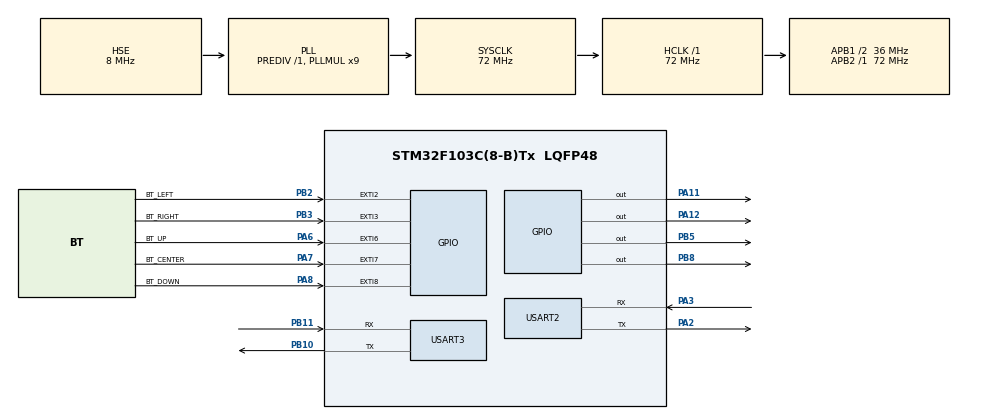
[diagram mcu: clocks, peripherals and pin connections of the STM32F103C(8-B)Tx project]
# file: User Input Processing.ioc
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Mcu.Family=STM32F1
Mcu.Name=STM32F103C(8-B)Tx
Mcu.Package=LQFP48
NVIC.EXTI2_IRQn=true\:4\:0\:true\:false\:true\:true\:true
NVIC.EXTI3_IRQn=true\:2\:0\:true\:false\:true\:true\:true
NVIC.EXTI9_5_IRQn=true\:3\:0\:true\:false\:true\:true\:true
NVIC.PriorityGroup=NVIC_PRIORITYGROUP_4
NVIC.USART2_IRQn=true\:1\:0\:true\:false\:true\:true\:true
NVIC.USART3_IRQn=true\:0\:0\:false\:false\:true\:true\:true
PA11.Signal=GPIO_Output
PA12.Signal=GPIO_Output
PA13.Mode=Serial_Wire
PA13.Signal=SYS_JTMS-SWDIO
PA14.Mode=Serial_Wire
PA14.Signal=SYS_JTCK-SWCLK
PA2.Mode=Asynchronous
PA2.Signal=USART2_TX
PA3.Mode=Asynchronous
PA3.Signal=USART2_RX
PA6.GPIO_Label=BT_UP
PA6.GPIO_ModeDefaultEXTI=GPIO_MODE_IT_FALLING
PA6.GPIO_PuPd=GPIO_PULLUP
PA6.Signal=GPXTI6
PA7.GPIO_Label=BT_CENTER
PA7.GPIO_ModeDefaultEXTI=GPIO_MODE_IT_FALLING
PA7.GPIO_PuPd=GPIO_PULLUP
PA7.Signal=GPXTI7
PA8.GPIO_Label=BT_DOWN
PA8.GPIO_ModeDefaultEXTI=GPIO_MODE_IT_FALLING
PA8.GPIO_PuPd=GPIO_PULLUP
PA8.Signal=GPXTI8
PB10.Mode=Asynchronous
PB10.Signal=USART3_TX
PB11.Mode=Asynchronous
PB11.Signal=USART3_RX
PB2.GPIO_Label=BT_LEFT
PB2.GPIO_ModeDefaultEXTI=GPIO_MODE_IT_FALLING
PB2.GPIO_PuPd=GPIO_PULLUP
PB2.Signal=GPXTI2
PB3.GPIO_Label=BT_RIGHT
PB3.GPIO_ModeDefaultEXTI=GPIO_MODE_IT_FALLING
PB3.GPIO_PuPd=GPIO_PULLUP
PB3.Signal=GPXTI3
PB5.Signal=GPIO_Output
PB8.Signal=GPIO_Output
PD0-OSC_IN.Mode=HSE-External-Oscillator
PD0-OSC_IN.Signal=RCC_OSC_IN
PD1-OSC_OUT.Mode=HSE-External-Oscillator
PD1-OSC_OUT.Signal=RCC_OSC_OUT
ProjectManager.HeapSize=0x200
ProjectManager.StackSize=0x400
ProjectManager.TargetToolchain=STM32CubeIDE
RCC.AHBFreq_Value=72000000
RCC.APB1CLKDivider=RCC_HCLK_DIV2
RCC.APB1Freq_Value=36000000
RCC.APB1TimFreq_Value=72000000
RCC.APB2Freq_Value=72000000
RCC.APB2TimFreq_Value=72000000
RCC.HCLKFreq_Value=72000000
RCC.PLLMUL=RCC_PLL_MUL9
RCC.PLLSourceVirtual=RCC_PLLSOURCE_HSE
RCC.SYSCLKFreq_VALUE=72000000
RCC.SYSCLKSource=RCC_SYSCLKSOURCE_PLLCLK
RCC.USBFreq_Value=72000000
USART2.VirtualMode=VM_ASYNC
USART3.VirtualMode=VM_ASYNC
board=custom

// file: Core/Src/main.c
/* USER CODE BEGIN Header */
/**
  ******************************************************************************
  * @file           : main.c
  * @brief          : Main program body
  ******************************************************************************
  * @attention
  *
  * <h2><center>&copy; Copyright (c) 2020 STMicroelectronics.
  * All rights reserved.</center></h2>
  *
  * This software component is licensed by ST under Ultimate Liberty license
  * SLA0044, the "License"; You may not use this file except in compliance with
  * the License. You may obtain a copy of the License at:
  *                             www.st.com/SLA0044
  *
  ******************************************************************************
  */
/* USER CODE END Header */
#include "main.h"

/* USER CODE BEGIN Includes */
#include <stdio.h>
#include <string.h>
#include "myLib.h"
/* USER CODE END Includes */

/* USER CODE BEGIN PTD */
/* USER CODE BEGIN PFP */
/* Private function prototypes -----------------------------------------------*/
/* USER CODE END PTD */

/* USER CODE BEGIN PM */
#define BUFFER_SIZE (100U)
/* USER CODE END PM */

UART_HandleTypeDef huart2;
UART_HandleTypeDef huart3;

/* USER CODE BEGIN PV */
uint8_t i, ucStringLength, Rx_indx;
char ucTransmitCpltFlag, ucRxData[2], ucRxBuffer[BUFFER_SIZE];
char ucGeneralString[BUFFER_SIZE];
char Rx_data[2], Rx_Buffer[BUFFER_SIZE], Transfer_cplt; //Khai bao cac bien de nhan du lieu
char buffer[BUFFER_SIZE];                               //Khai bao mang buffer BUFFER_SIZE phan tu

uint8_t ucRxIndex;
/* USER CODE END PV */

void SystemClock_Config(void);
static void MX_GPIO_Init(void);
static void MX_USART2_UART_Init(void);
static void MX_USART3_UART_Init(void);
/* USER CODE BEGIN PFP */
/* Private function prototypes -----------------------------------------------*/

/* USER CODE END PTD */

/* Private define ------------------------------------------------------------*/
/* USER CODE BEGIN PD */
/* USER CODE END PD */

/* Private macro -------------------------------------------------------------*/
/* USER CODE BEGIN PM */

/* USER CODE END PM */

/* Private variables ---------------------------------------------------------*/
UART_HandleTypeDef huart2;
DMA_HandleTypeDef hdma_usart2_rx;

/* USER CODE BEGIN PV */
char ucTransmitCpltFlag, ucRxData[2], ucRxBuffer[BUFFER_SIZE];
char ucGeneralString[BUFFER_SIZE];
uint8_t ucRxIndex;
int len; //Khai bao bien len tuong ung voi chieu dai

/* USER CODE END PV */

/* Private function prototypes -----------------------------------------------*/
void SystemClock_Config(void);
static void MX_GPIO_Init(void);
static void MX_USART2_UART_Init(void);
/* USER CODE BEGIN PFP */
void HAL_UART_RxCpltCallback(UART_HandleTypeDef *huart);
/* USER CODE END PFP */

int main(void)
{

  /* MCU Configuration--------------------------------------------------------*/

  /* Reset of all peripherals, Initializes the Flash interface and the Systick. */
  HAL_Init();

  /* Configure the system clock */
  SystemClock_Config();

  /* Initialize all configured peripherals */
  MX_GPIO_Init();
  MX_USART2_UART_Init();
  MX_USART3_UART_Init();

  offAllLed;
  /* USER CODE BEGIN 2 */
  HAL_UART_Receive_IT(&huart2, (uint8_t *)ucRxData, 2);
  HAL_UART_Receive_IT(&huart3, (uint8_t *)ucRxData, 2);
  /* USER CODE END 2 */
  /* Infinite loop */
  /* USER CODE BEGIN WHILE */

  PRINTF("Project name: UART_INPUT_RECEIVE_IT\r\n");
  PRINTF("**********************************SHORT DESCRIPTION******************************\r\n");
  PRINTF("This project will read user input from USART2 and USART3 interface and re-print it to terminal for debugging\r\n");
  PRINTF("*********************************************************************************\r\n");
  PRINTF("Run Application\r\n");

  while (1)
  {
    /* USER CODE END WHILE */

    /* USER CODE BEGIN 3 */
    toggleLed4; /* Check chip's halt */
    /* Check if receiving a string from USART2 completed */
    if (ucTransmitCpltFlag)
    {
      sprintf(ucGeneralString, "\r\nUART2 Received String: \"%s\"", ucRxBuffer);
      PRINTF(ucGeneralString);
      toggleLed1;

      /* Clear receive completed flag to continue receive another string*/
      ucTransmitCpltFlag = 0;
    }

    if (Transfer_cplt)
    {
      sprintf(buffer, "\r\nUART3 Received String: \"%s\"", Rx_Buffer); // IN bufer
      vUARTSend(huart3, (uint8_t *)buffer);
      toggleLed2;

      Transfer_cplt = 0; //Reset lai bien tranfer_complete
    }

    HAL_Delay(100);
  }
  /* USER CODE END 3 */
}

void SystemClock_Config(void)
{
  RCC_OscInitTypeDef RCC_OscInitStruct = {0};
  RCC_ClkInitTypeDef RCC_ClkInitStruct = {0};

  /** Initializes the RCC Oscillators according to the specified parameters
  * in the RCC_OscInitTypeDef structure.
  */
  RCC_OscInitStruct.OscillatorType = RCC_OSCILLATORTYPE_HSE;
  RCC_OscInitStruct.HSEState = RCC_HSE_ON;
  RCC_OscInitStruct.HSEPredivValue = RCC_HSE_PREDIV_DIV1;
  RCC_OscInitStruct.HSIState = RCC_HSI_ON;
  RCC_OscInitStruct.PLL.PLLState = RCC_PLL_ON;
  RCC_OscInitStruct.PLL.PLLSource = RCC_PLLSOURCE_HSE;
  RCC_OscInitStruct.PLL.PLLMUL = RCC_PLL_MUL9;
  if (HAL_RCC_OscConfig(&RCC_OscInitStruct) != HAL_OK)
  {
    Error_Handler();
  }
  /** Initializes the CPU, AHB and APB buses clocks
  */
  RCC_ClkInitStruct.ClockType = RCC_CLOCKTYPE_HCLK | RCC_CLOCKTYPE_SYSCLK | RCC_CLOCKTYPE_PCLK1 | RCC_CLOCKTYPE_PCLK2;
  RCC_ClkInitStruct.SYSCLKSource = RCC_SYSCLKSOURCE_PLLCLK;
  RCC_ClkInitStruct.AHBCLKDivider = RCC_SYSCLK_DIV1;
  RCC_ClkInitStruct.APB1CLKDivider = RCC_HCLK_DIV2;
  RCC_ClkInitStruct.APB2CLKDivider = RCC_HCLK_DIV1;

  if (HAL_RCC_ClockConfig(&RCC_ClkInitStruct, FLASH_LATENCY_2) != HAL_OK)
  {
    Error_Handler();
  }
}

static void MX_USART2_UART_Init(void)
{

  huart2.Instance = USART2;
  huart2.Init.BaudRate = 115200;
  huart2.Init.WordLength = UART_WORDLENGTH_8B;
  huart2.Init.StopBits = UART_STOPBITS_1;
  huart2.Init.Parity = UART_PARITY_NONE;
  huart2.Init.Mode = UART_MODE_TX_RX;
  huart2.Init.HwFlowCtl = UART_HWCONTROL_NONE;
  huart2.Init.OverSampling = UART_OVERSAMPLING_16;
  if (HAL_UART_Init(&huart2) != HAL_OK)
  {
    Error_Handler();
  }
}

static void MX_USART3_UART_Init(void)
{

  huart3.Instance = USART3;
  huart3.Init.BaudRate = 115200;
  huart3.Init.WordLength = UART_WORDLENGTH_8B;
  huart3.Init.StopBits = UART_STOPBITS_1;
  huart3.Init.Parity = UART_PARITY_NONE;
  huart3.Init.Mode = UART_MODE_TX_RX;
  huart3.Init.HwFlowCtl = UART_HWCONTROL_NONE;
  huart3.Init.OverSampling = UART_OVERSAMPLING_16;
  if (HAL_UART_Init(&huart3) != HAL_OK)
  {
    Error_Handler();
  }
}

static void MX_GPIO_Init(void)
{
  GPIO_InitTypeDef GPIO_InitStruct = {0};

  /* GPIO Ports Clock Enable */
  __HAL_RCC_GPIOD_CLK_ENABLE();
  __HAL_RCC_GPIOA_CLK_ENABLE();
  __HAL_RCC_GPIOB_CLK_ENABLE();

  /*Configure GPIO pin Output Level */
  HAL_GPIO_WritePin(GPIOA, GPIO_PIN_11 | GPIO_PIN_12, GPIO_PIN_RESET);

  /*Configure GPIO pin Output Level */
  HAL_GPIO_WritePin(GPIOB, GPIO_PIN_5 | GPIO_PIN_8, GPIO_PIN_RESET);

  /*Configure GPIO pins : BT_UP_Pin BT_CENTER_Pin BT_DOWN_Pin */
  GPIO_InitStruct.Pin = BT_UP_Pin | BT_CENTER_Pin | BT_DOWN_Pin;
  GPIO_InitStruct.Mode = GPIO_MODE_IT_FALLING;
  GPIO_InitStruct.Pull = GPIO_PULLUP;
  HAL_GPIO_Init(GPIOA, &GPIO_InitStruct);

  /*Configure GPIO pins : BT_LEFT_Pin BT_RIGHT_Pin */
  GPIO_InitStruct.Pin = BT_LEFT_Pin | BT_RIGHT_Pin;
  GPIO_InitStruct.Mode = GPIO_MODE_IT_FALLING;
  GPIO_InitStruct.Pull = GPIO_PULLUP;
  HAL_GPIO_Init(GPIOB, &GPIO_InitStruct);

  /*Configure GPIO pins : PA11 PA12 */
  GPIO_InitStruct.Pin = GPIO_PIN_11 | GPIO_PIN_12;
  GPIO_InitStruct.Mode = GPIO_MODE_OUTPUT_PP;
  GPIO_InitStruct.Pull = GPIO_NOPULL;
  GPIO_InitStruct.Speed = GPIO_SPEED_FREQ_LOW;
  HAL_GPIO_Init(GPIOA, &GPIO_InitStruct);

  /*Configure GPIO pins : PB5 PB8 */
  GPIO_InitStruct.Pin = GPIO_PIN_5 | GPIO_PIN_8;
  GPIO_InitStruct.Mode = GPIO_MODE_OUTPUT_PP;
  GPIO_InitStruct.Pull = GPIO_NOPULL;
  GPIO_InitStruct.Speed = GPIO_SPEED_FREQ_LOW;
  HAL_GPIO_Init(GPIOB, &GPIO_InitStruct);

  /* EXTI interrupt init*/
  HAL_NVIC_SetPriority(EXTI2_IRQn, 4, 0);
  HAL_NVIC_EnableIRQ(EXTI2_IRQn);

  HAL_NVIC_SetPriority(EXTI3_IRQn, 2, 0);
  HAL_NVIC_EnableIRQ(EXTI3_IRQn);

  HAL_NVIC_SetPriority(EXTI9_5_IRQn, 3, 0);
  HAL_NVIC_EnableIRQ(EXTI9_5_IRQn);
}

/* USER CODE BEGIN 4 */
/**
 * @brief
 *
 * @param huart
 */
void HAL_UART_RxCpltCallback(UART_HandleTypeDef *huart)
{
  uint8_t i;
  /* Process USART2 Receive_Cplt_IT */
  if (huart->Instance == USART2)
  {
    /* Reset Receive Buffer whenever index_value = 0 */
    if (ucRxIndex == 0)
    {
      for (i = 0; i < BUFFER_SIZE; i++)
      {
        /* code */
        ucRxBuffer[i] = 0;
      }
    }

    /* Case when user input data not equal to "\r" */
    if (ucRxData[0] != 13)
    {
      ucRxBuffer[ucRxIndex++] = ucRxData[0];
    }

    else /* Case when user input data = "\r" */
    {
      ucRxIndex = 0;
      ucTransmitCpltFlag = 1;
    }

    /* Trigger to Receive and jump into ISR on each ISR process is necessary */
    HAL_UART_Receive_IT(&huart2, (uint8_t *)ucRxData, 1);
  }

  /* Process USART3 Receive_Cplt_IT */
  if (huart->Instance == USART3) //Check if UART3 receive data
  {
    if (Rx_indx == 0)
    {
      for (i = 0; i < BUFFER_SIZE; i++)
        Rx_Buffer[i] = 0;
    } //Clear Buffer when Rx_indx == 0

    if (Rx_data[0] != 13) //If Received byte != 13 (ENTER BUTTON ON KEYBOARD) by which means confirm sending string from keyboard is not yet made
    {
      Rx_Buffer[Rx_indx++] = Rx_data[0]; //Continuously receive byte by byte into Rx_Buffer
    }

    else //ENTER BUTTON is pressed ==> User confirm to send a string

    {
      Rx_indx = 0;       //Reset Rx_indx to start receiving another string
      Transfer_cplt = 1; //Set Transfer_cplt to 1 to inform about receiving previous string succesful
    }

    HAL_UART_Receive_IT(&huart3, (uint8_t *)Rx_data, 1); //UART3 RECEIVE_IT need to re-trigger to continue working or else stop receiving
  }
}

/**
 * @brief
 *
 * @param String
 */
/* USER CODE END 4 */

void Error_Handler(void)
{
}

/************************ (C) COPYRIGHT STMicroelectronics *****END OF FILE****/
